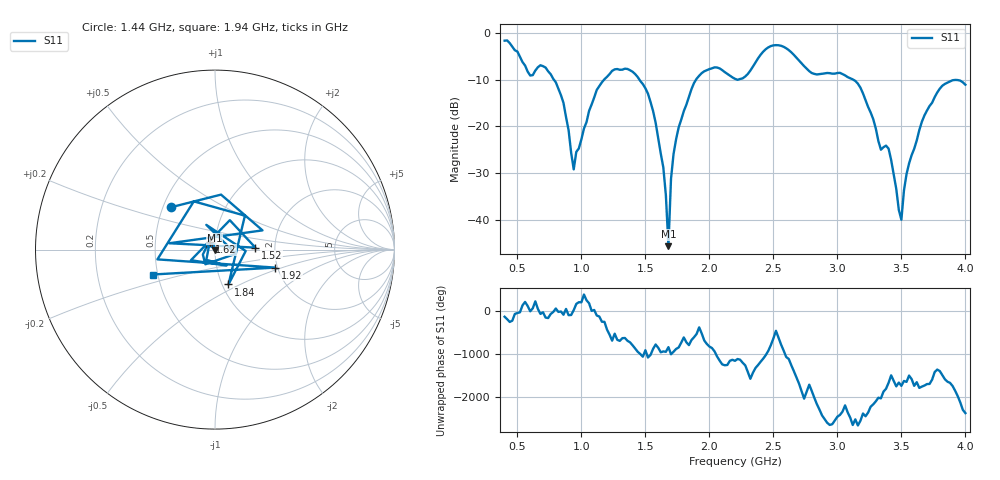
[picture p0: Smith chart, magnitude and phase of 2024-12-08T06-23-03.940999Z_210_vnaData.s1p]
!Created with skrf (http://scikit-rf.org).
# Hz S RI R 50.0
!freq ReS11 ImS11
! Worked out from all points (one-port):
!   181 points, 400 MHz to 4 GHz, reference 50 ohm
!   lowest |S11| = -45.7 dB at 1.68 GHz (marker M1), VSWR 1.01, Z = 49.8 - j0.462 ohm
!   |S11| at or under -10 dB: 786.4 MHz to 1.176 GHz (389.1 MHz wide, 39.7 % of centre); 1.455 GHz to 1.894 GHz (439.8 MHz wide, 26.3 % of centre); 3.127 GHz to 3.919 GHz (791.3 MHz wide, 22.5 % of centre) (the widest 3 of 4)
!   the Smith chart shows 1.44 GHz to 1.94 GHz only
!   S11 on the Smith chart (normalised r, x): 1.44 GHz: 0.55, +0.30; 1.52 GHz: 1.58, +0.04; 1.62 GHz: 0.94, +0.08; 1.84 GHz: 1.07, -0.44; 1.92 GHz: 1.95, -0.45; 1.94 GHz: 0.47, -0.15
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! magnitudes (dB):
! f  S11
! 400 MHz  -1.6
! 600 MHz  -9.0
! 720 MHz  -7.3
! 860 MHz  -14.9
! 940 MHz  -29.2
! 1.12 GHz  -12.1
! 1.3 GHz  -7.8
! 1.44 GHz  -9.4
! 1.52 GHz  -12.9
! 1.62 GHz  -25.8
! 1.66 GHz  -34.8
! 1.68 GHz  -45.7
! 1.7 GHz  -31.3
! 1.76 GHz  -20.2
! 1.84 GHz  -13.6
! 1.92 GHz  -9.1
! 1.94 GHz  -8.5
! 2.2 GHz  -9.8
! 2.48 GHz  -2.7
! 2.66 GHz  -4.6
! 3.1 GHz  -9.6
! 3.2 GHz  -12.9
! 3.34 GHz  -25.0
! 3.4 GHz  -24.8
! 3.5 GHz  -40.0
! 3.56 GHz  -27.9
! 3.8 GHz  -11.9
! 4 GHz  -11.0
